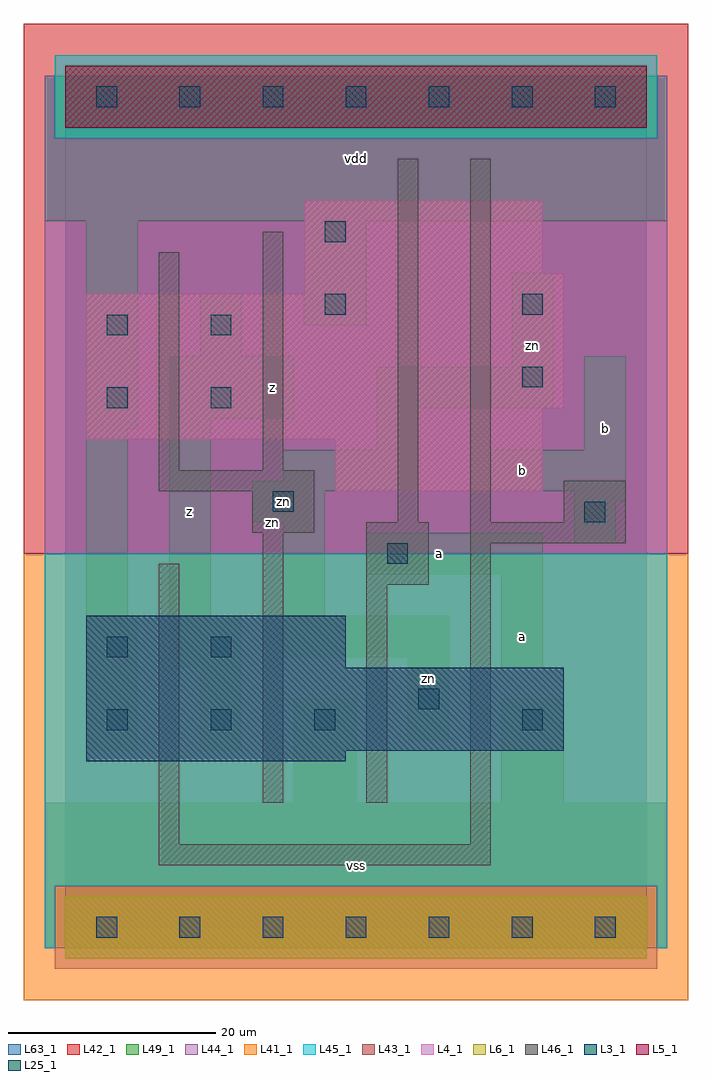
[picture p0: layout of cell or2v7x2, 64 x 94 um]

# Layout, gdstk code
import gdstk
lib = gdstk.Library(unit=1e-6, precision=1e-09)
def R(c, l, rs):  # rectangles x0, y0, x1, y1
    for r in rs: c.add(gdstk.rectangle(r[:2], r[2:], *l))
def A(c, l, x, y, w, h, nx, ny, dx, dy):  # array of equal rectangles
    R(c, l, [(x+i*dx, y+j*dy, x+i*dx+w, y+j*dy+h) for i in range(nx) for j in range(ny)])
L3_1 = (3, 1)
L4_1 = (4, 1)
L5_1 = (5, 1)
L6_1 = (6, 1)
L25_1 = (25, 1)
L41_1 = (41, 1)
L42_1 = (42, 1)
L43_1 = (43, 1)
L44_1 = (44, 1)
L45_1 = (45, 1)
L46_1 = (46, 1)
L49_1 = (49, 1)
L63_1 = (63, 1)

or2v7x2 = lib.new_cell('or2v7x2')
R(or2v7x2, L3_1, [(2,16,27,17), (2,17,48,25), (2,25,27,30)])
R(or2v7x2, L4_1, [(26,42,46,47), (2,47,46,50), (2,50,48,61), (23,61,48,63), (23,63,46,70)])
R(or2v7x2, L5_1, [(0,77,56,83)])
R(or2v7x2, L6_1, [(0,-3,56,3), (0,-3,56,3)])
A(or2v7x2, L25_1, 3, -1, 2, 2, 7, 2, 8, 80)
A(or2v7x2, L25_1, 4, 19, 2, 2, 3, 1, 10, 0)
R(or2v7x2, L25_1, [(44,19,46,21), (34,21,36,23), (4,26,6,28), (14,26,16,28), (31,35,33,37), (50,39,52,41), (20,40,22,42), (4,50,6,52), (14,50,16,52), (44,52,46,54), (4,57,6,59), (14,57,16,59), (25,59,27,61), (44,59,46,61), (25,66,27,68)])
R(or2v7x2, L41_1, [(-4,-7,60,36)])
R(or2v7x2, L42_1, [(-4,36,60,87)])
R(or2v7x2, L43_1, [(0,-3,56,3), (2,16,27,17), (2,17,48,25), (2,25,27,30), (26,42,46,47), (2,47,46,50), (2,50,48,61), (23,61,48,63), (23,63,46,70), (0,77,56,83)])
R(or2v7x2, L44_1, [(-1,-4,57,4), (-2,36,58,76), (-2,76,-1,82), (57,76,58,82)])
R(or2v7x2, L45_1, [(-2,-2,-1,4), (57,-2,58,4), (-2,4,58,36), (-1,76,57,84)])
R(or2v7x2, L46_1, [(9,6,41,8), (9,8,11,35), (39,8,41,37), (19,12,21,38), (29,12,31,33), (29,33,35,39), (39,37,54,39), (18,38,24,42), (32,39,34,74), (39,39,41,74), (48,39,54,43), (9,42,24,44), (9,44,11,65), (19,44,21,67)])
R(or2v7x2, L49_1, [(-2,-2,58,12), (22,12,28,22), (42,12,48,22), (2,17,7,30), (13,17,17,25), (33,18,37,26), (10,25,17,30), (42,25,46,34), (21,26,37,30), (2,30,6,48), (10,30,14,49), (21,30,25,39), (29,34,46,38), (49,37,53,41), (18,39,25,42), (49,41,54,42), (18,42,34,43), (41,42,54,46), (21,43,34,46), (30,46,34,50), (50,46,54,55), (2,48,7,68), (10,49,22,55), (30,50,47,54), (43,54,47,63), (13,55,17,61), (23,58,29,68), (-2,68,58,82)])
R(or2v7x2, L63_1, [(0,0,56,80)])
or2v7x2.add(gdstk.Label('zn', (20,39), layer=46, texttype=1))
or2v7x2.add(gdstk.Label('zn', (21,41), layer=49, texttype=1))
or2v7x2.add(gdstk.Label('z', (12,40), layer=49, texttype=1))
or2v7x2.add(gdstk.Label('z', (20,52), layer=49, texttype=1))
or2v7x2.add(gdstk.Label('vss', (28,6), layer=49, texttype=1))
or2v7x2.add(gdstk.Label('zn', (35,24), layer=49, texttype=1))
or2v7x2.add(gdstk.Label('a', (36,36), layer=49, texttype=1))
or2v7x2.add(gdstk.Label('vdd', (28,74), layer=49, texttype=1))
or2v7x2.add(gdstk.Label('a', (44,28), layer=49, texttype=1))
or2v7x2.add(gdstk.Label('b', (44,44), layer=49, texttype=1))
or2v7x2.add(gdstk.Label('b', (52,48), layer=49, texttype=1))
or2v7x2.add(gdstk.Label('zn', (45,56), layer=49, texttype=1))

lib.write_gds('or2v7x2.gds')
